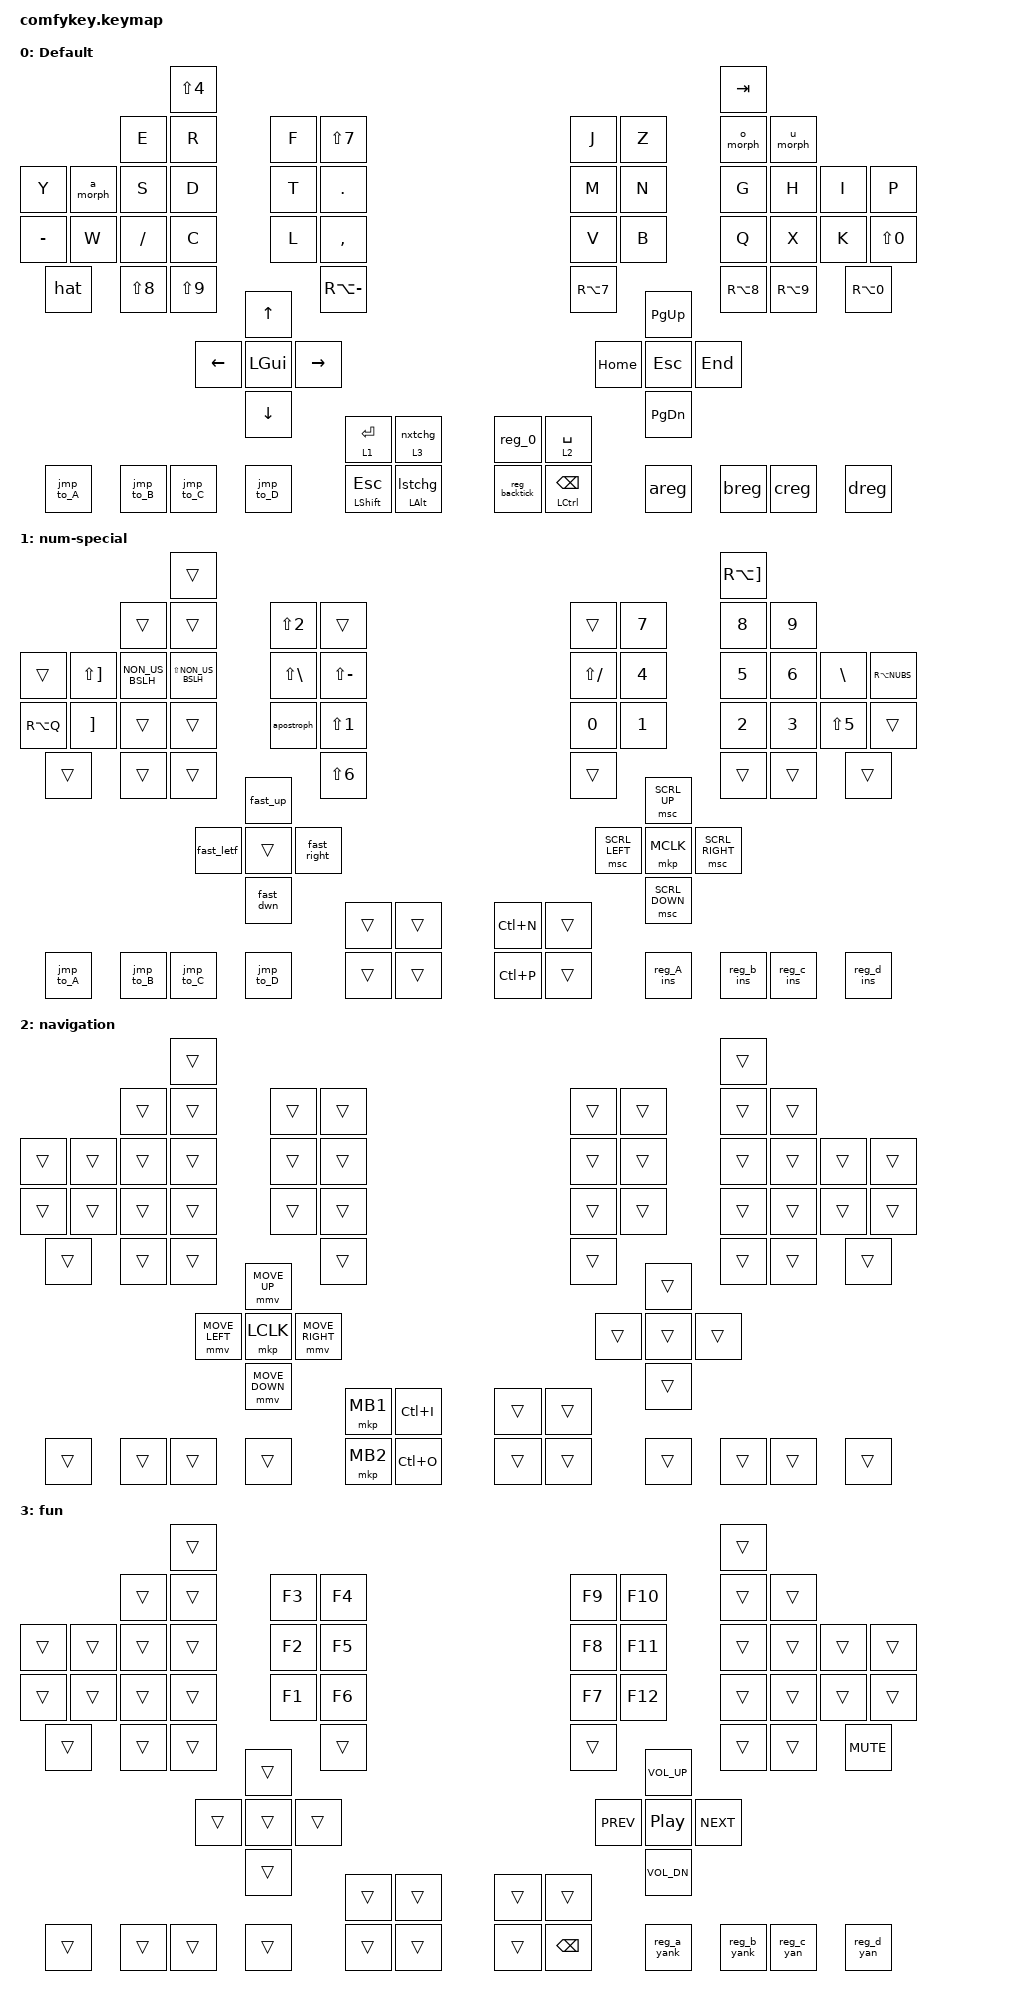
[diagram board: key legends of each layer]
#define ZMK_POINTING_DEFAULT_MOVE_VAL 2000
#define ZMK_POINTING_DEFAULT_SCRL_VAL 50

#include <behaviors.dtsi>
#include <dt-bindings/zmk/keys.h>
#include <dt-bindings/zmk/pointing.h>


&msc {
    acceleration-exponent = <0>;
    delay-ms = <1>;
};

&mmv {
    time-to-max-speed-ms = <1000>;
    acceleration-exponent = <1>;
};

/ {
    behaviors {
        a_morph: a_morph {
            compatible = "zmk,behavior-mod-morph";
            #binding-cells = <0>;
            bindings = <&kp A>, <&kp APOSTROPHE>;

            // ä on German layout

            mods = <(MOD_RALT|MOD_LALT)>;
        };

        o_morph: o_morph {
            compatible = "zmk,behavior-mod-morph";
            #binding-cells = <0>;
            bindings = <&kp O>, <&kp SEMICOLON>;

            // ö on German layout

            mods = <(MOD_RALT|MOD_LALT)>;
        };

        u_morph: u_morph {
            compatible = "zmk,behavior-mod-morph";
            #binding-cells = <0>;
            bindings = <&kp U>, <&kp LEFT_BRACKET>;

            // ü on German layout

            mods = <(MOD_RALT|MOD_LALT)>;
        };

        lh: lh {
            compatible = "zmk,behavior-hold-tap";
            label = "LH";
            bindings = <&mo>, <&kp>;

            #binding-cells = <2>;
            tapping-term-ms = <200>;
        };

        kh: kh {
            compatible = "zmk,behavior-hold-tap";
            label = "KH";
            bindings = <&kp>, <&kp>;

            #binding-cells = <2>;
            flavor = "balanced";
            tapping-term-ms = <200>;
        };

        mkh: mkh {
            compatible = "zmk,behavior-hold-tap";
            label = "MKH";
            bindings = <&kp>, <&mkp>;

            #binding-cells = <2>;
            tapping-term-ms = <200>;
        };

        mklh: mklh {
            compatible = "zmk,behavior-hold-tap";
            label = "MKLH";
            bindings = <&mo>, <&mkp>;

            #binding-cells = <2>;
            tapping-term-ms = <200>;
        };

        new_behavior: new_behavior {
            compatible = "zmk,behavior-hold-tap";
            label = "NEW_BEHAVIOR";
            bindings = <&kp>, <&reg_backtick>;

            #binding-cells = <2>;
            tapping-term-ms = <200>;
        };

        lstchg_holdkey: lstchg_holdkey {
            compatible = "zmk,behavior-hold-tap";
            label = "LSTCHG_HOLDKEY";
            bindings = <&kp>, <&lstchg>;

            #binding-cells = <2>;
            tapping-term-ms = <200>;
        };

        nxtchg_hold: nxtchg_hold {
            compatible = "zmk,behavior-hold-tap";
            label = "NXTCHG_HOLD";
            bindings = <&mo>, <&nxtchg>;

            #binding-cells = <2>;
            tapping-term-ms = <200>;
        };

        lh_prior_idle: lh_prior_idle {
            compatible = "zmk,behavior-hold-tap";
            label = "LH_PRIOR_IDLE";
            bindings = <&mo>, <&kp>;

            #binding-cells = <2>;
            tapping-term-ms = <200>;
            require-prior-idle-ms = <200>;
        };
    };

    macros {
        apostroph: apostroph {
            compatible = "zmk,behavior-macro";
            #binding-cells = <0>;
            wait-ms = <1>;
            tap-ms = <1>;
            bindings = <&kp LS(EQUAL) &kp LS(EQUAL)>;
            label = "APOSTROPH";
        };

        hat: hat {
            compatible = "zmk,behavior-macro";
            #binding-cells = <0>;
            wait-ms = <1>;
            tap-ms = <1>;
            bindings = <&kp GRAVE &kp GRAVE>;
            label = "HAT";
        };

        areg: a_reg {
            compatible = "zmk,behavior-macro";
            #binding-cells = <0>;
            wait-ms = <1>;
            tap-ms = <1>;
            bindings = <&kp ESCAPE &kp A &kp LC(R) &kp A>;
            label = "A_REG";
        };

        breg: b_reg {
            compatible = "zmk,behavior-macro";
            #binding-cells = <0>;
            wait-ms = <1>;
            tap-ms = <1>;
            bindings = <&kp ESCAPE &kp A &kp LC(R) &kp B>;
            label = "B_REG";
        };

        creg: c_reg {
            compatible = "zmk,behavior-macro";
            #binding-cells = <0>;
            wait-ms = <1>;
            tap-ms = <1>;
            bindings = <&kp ESCAPE &kp A &kp LC(R) &kp C>;
            label = "C_REG";
        };

        dreg: d_reg {
            compatible = "zmk,behavior-macro";
            #binding-cells = <0>;
            wait-ms = <1>;
            tap-ms = <1>;
            bindings = <&kp ESCAPE &kp A &kp LC(R) &kp D>;
            label = "D_REG";
        };

        jmp_to_A: jmp_to_A {
            compatible = "zmk,behavior-macro";
            #binding-cells = <0>;
            wait-ms = <1>;
            tap-ms = <1>;
            bindings = <&kp ESCAPE &kp LS(EQUAL) &kp LS(EQUAL) &kp LS(A)>;
            label = "JMP_TO_A";
        };

        jmp_to_B: jmp_to_B {
            compatible = "zmk,behavior-macro";
            #binding-cells = <0>;
            wait-ms = <1>;
            tap-ms = <1>;
            bindings = <&kp ESCAPE &kp LS(EQUAL) &kp LS(EQUAL) &kp LS(B)>;
            label = "JMP_TO_B";
        };

        jmp_to_C: jmp_to_C {
            compatible = "zmk,behavior-macro";
            #binding-cells = <0>;
            wait-ms = <1>;
            tap-ms = <1>;
            bindings = <&kp ESCAPE &kp LS(EQUAL) &kp LS(EQUAL) &kp LS(C)>;
            label = "JMP_TO_C";
        };

        jmp_to_D: jmp_to_D {
            compatible = "zmk,behavior-macro";
            #binding-cells = <0>;
            wait-ms = <1>;
            tap-ms = <1>;
            bindings = <&kp ESCAPE &kp LS(EQUAL) &kp LS(EQUAL) &kp LS(D)>;
            label = "JMP_TO_D";
        };

        reg_backtick: reg_backtick {
            compatible = "zmk,behavior-macro";
            #binding-cells = <0>;
            wait-ms = <1>;
            tap-ms = <1>;
            bindings = <&kp LS(EQUAL) &kp LS(EQUAL) &kp LS(EQUAL) &kp LS(EQUAL)>;
            label = "REG_BACKTICK";
        };

        lstchg: reg_colon {
            compatible = "zmk,behavior-macro";
            #binding-cells = <0>;
            wait-ms = <1>;
            tap-ms = <1>;
            bindings = <&kp G &kp LS(COMMA)>;
            label = "REG_COLON";
        };

        fast_letf: fast_letf {
            compatible = "zmk,behavior-macro";
            #binding-cells = <0>;
            wait-ms = <1>;
            tap-ms = <1>;
            bindings = <&kp N5 &kp N0 &kp LEFT_ARROW>;
            label = "FAST_LETF";
        };

        fast_right: fast_right {
            compatible = "zmk,behavior-macro";
            #binding-cells = <0>;
            wait-ms = <1>;
            tap-ms = <1>;
            bindings = <&kp N5 &kp N0 &kp RIGHT>;
            label = "FAST_RIGHT";
        };

        fast_up: fast_up {
            compatible = "zmk,behavior-macro";
            #binding-cells = <0>;
            wait-ms = <1>;
            tap-ms = <1>;
            bindings = <&kp N5 &kp N0 &kp UP_ARROW>;
            label = "FAST_UP";
        };

        fast_dwn: fast_dwn {
            compatible = "zmk,behavior-macro";
            #binding-cells = <0>;
            wait-ms = <1>;
            tap-ms = <1>;
            bindings = <&kp N5 &kp N0 &kp DOWN_ARROW>;
            label = "FAST_DWN";
        };

        reg_A_ins: reg_A_ins {
            compatible = "zmk,behavior-macro";
            #binding-cells = <0>;
            wait-ms = <1>;
            tap-ms = <1>;
            bindings = <&kp ESCAPE &kp LS(NUMBER_2) &kp A &kp P>;
            label = "REG_A_INS";
        };

        reg_b_ins: reg_b_ins {
            compatible = "zmk,behavior-macro";
            #binding-cells = <0>;
            wait-ms = <1>;
            tap-ms = <1>;
            bindings = <&kp ESCAPE &kp LS(NUMBER_2) &kp B &kp P>;
            label = "REG_B_INS";
        };

        reg_c_ins: reg_c_inster {
            compatible = "zmk,behavior-macro";
            #binding-cells = <0>;
            wait-ms = <1>;
            tap-ms = <1>;
            bindings = <&kp ESCAPE &kp LS(NUMBER_2) &kp C &kp P>;
            label = "REG_C_INSTER";
        };

        reg_d_ins: reg_d_ins {
            compatible = "zmk,behavior-macro";
            #binding-cells = <0>;
            wait-ms = <1>;
            tap-ms = <1>;
            bindings = <&kp ESCAPE &kp LS(NUMBER_2) &kp D &kp P>;
            label = "REG_D_INS";
        };

        reg_a_yank: reg_a_yank {
            compatible = "zmk,behavior-macro";
            #binding-cells = <0>;
            wait-ms = <1>;
            tap-ms = <1>;
            bindings = <&kp ESCAPE &kp LS(NUMBER_2) &kp A &kp Y>;
            label = "REG_A_YANK";
        };

        reg_b_yank: reg_b_yank {
            compatible = "zmk,behavior-macro";
            #binding-cells = <0>;
            wait-ms = <1>;
            tap-ms = <1>;
            bindings = <&kp ESCAPE &kp LS(NUMBER_2) &kp B &kp Y>;
            label = "REG_A_YANK";
        };

        reg_c_yan: reg_c_yan {
            compatible = "zmk,behavior-macro";
            #binding-cells = <0>;
            wait-ms = <1>;
            tap-ms = <1>;
            bindings = <&kp ESCAPE &kp LS(NUMBER_2) &kp C &kp Y>;
            label = "REG_C_YAN";
        };

        reg_d_yan: reg_d_yan {
            compatible = "zmk,behavior-macro";
            #binding-cells = <0>;
            wait-ms = <1>;
            tap-ms = <1>;
            bindings = <&kp ESCAPE &kp LS(NUMBER_2) &kp D &kp Y>;
            label = "REG_D_YAN";
        };

        nxtchg: nxtchg {
            compatible = "zmk,behavior-macro";
            #binding-cells = <0>;
            wait-ms = <1>;
            tap-ms = <1>;
            bindings = <&kp G &kp COMMA>;
            label = "NXTCHG";
        };

        reg_0: reg_0 {
            compatible = "zmk,behavior-macro";
            #binding-cells = <0>;
            wait-ms = <1>;
            tap-ms = <1>;
            bindings = <&kp LS(NUMBER_2) &kp N0>;
            label = "REG_0";
        };

        bh_reg: bh_reg {
            compatible = "zmk,behavior-macro";
            #binding-cells = <0>;
            wait-ms = <1>;
            tap-ms = <1>;
            bindings = <&kp LS(NUMBER_2) &kp LS(SLASH)>;
            label = "BH_REG";
        };
    };

    combos {
        compatible = "zmk,combos";

        Lgui_combo {
            bindings = <&kp RIGHT_ALT>;
            key-positions = <61 53>;
        };

        delete_behavior {
            bindings = <&kp DEL>;
            key-positions = <63 55>;
            require-prior-idle-ms = <250>;
        };

        gui {
            bindings = <&kp LEFT_GUI>;
            key-positions = <62 54>;
            require-prior-idle-ms = <500>;
        };

        bh_macro {
            bindings = <&bh_reg>;
            key-positions = <60 54>;
        };
    };

    keymap {
        compatible = "zmk,keymap";

        default {
            display-name = "Default";
            bindings = <
&kp LS(NUMBER_4)  &kp TAB  &kp E  &kp R  &kp F  &kp LS(N7)  &kp J  &kp Z  &o_morph  &u_morph  &kp Y  &a_morph  &kp S  &kp D  &kp T  &kp PERIOD  &kp M  &kp N  &kp G  &kp H  &kp I  &kp P  &kp MINUS  &kp W  &kp SLASH  &kp C  &kp L  &kp COMMA  &kp V  &kp B  &kp Q  &kp X  &kp K  &kp LS(N0)  &hat  &kp LS(NUMBER_8)  &kp LS(NUMBER_9)  &kp RA(MINUS)  &kp RA(N7)  &kp RA(N8)  &kp RA(N9)  &kp RA(N0)  &kp UP  &kp PG_UP  &kp LEFT  &kp LEFT_GUI  &kp RIGHT  &kp HOME  &kp ESCAPE  &kp END  &kp DOWN  &kp PG_DN  &lh 1 ENTER  &nxtchg_hold 3 0  &reg_0  &lh_prior_idle 2 SPACE  &jmp_to_A  &jmp_to_B  &jmp_to_C  &jmp_to_D  &mt LEFT_SHIFT ESCAPE  &lstchg_holdkey LEFT_ALT 0  &reg_backtick  &kh LCTRL BACKSPACE  &areg  &breg  &creg  &dreg
            >;
        };

        num_sepcial {
            display-name = "num-special";
            bindings = <
&trans  &kp RA(RIGHT_BRACKET)  &trans  &trans  &kp LS(NUMBER_2)  &trans  &trans  &kp N7  &kp N8  &kp N9  &trans  &kp LS(RIGHT_BRACKET)  &kp NON_US_BSLH  &kp LS(NON_US_BSLH)  &kp LS(BACKSLASH)  &kp LS(MINUS)  &kp LS(SLASH)  &kp NUMBER_4  &kp N5  &kp NUMBER_6  &kp BACKSLASH  &kp RA(NUBS)  &kp RA(Q)  &kp RIGHT_BRACKET  &trans  &trans  &apostroph  &kp LS(NUMBER_1)  &kp N0  &kp NUMBER_1  &kp NUMBER_2  &kp NUMBER_3  &kp LS(N5)  &trans  &trans  &trans  &trans  &kp LS(NUMBER_6)  &trans  &trans  &trans  &trans  &fast_up  &msc SCRL_UP  &fast_letf  &trans  &fast_right  &msc SCRL_LEFT  &mkp MCLK  &msc SCRL_RIGHT  &fast_dwn  &msc SCRL_DOWN  &trans  &trans  &kp LC(N)  &trans  &jmp_to_A  &jmp_to_B  &jmp_to_C  &jmp_to_D  &trans  &trans  &kp LC(P)  &trans  &reg_A_ins  &reg_b_ins  &reg_c_ins  &reg_d_ins
            >;
        };

        navigation {
            display-name = "navigation";
            bindings = <
&trans  &trans  &trans  &trans  &trans  &trans  &trans  &trans  &trans  &trans  &trans  &trans  &trans  &trans  &trans  &trans  &trans  &trans  &trans  &trans  &trans  &trans  &trans  &trans  &trans  &trans  &trans  &trans  &trans  &trans  &trans  &trans  &trans  &trans  &trans  &trans  &trans  &trans  &trans  &trans  &trans  &trans  &mmv MOVE_UP  &trans  &mmv MOVE_LEFT  &mkp LCLK  &mmv MOVE_RIGHT  &trans  &trans  &trans  &mmv MOVE_DOWN  &trans  &mkp MB1  &kp LC(I)  &trans  &trans  &trans  &trans  &trans  &trans  &mkp MB2  &kp LC(O)  &trans  &trans  &trans  &trans  &trans  &trans
            >;
        };

        fun {
            bindings = <
&trans  &trans  &trans  &trans  &kp F3  &kp F4  &kp F9  &kp F10  &trans  &trans  &trans  &trans  &trans  &trans  &kp F2  &kp F5  &kp F8  &kp F11  &trans  &trans  &trans  &trans  &trans  &trans  &trans  &trans  &kp F1  &kp F6  &kp F7  &kp F12  &trans  &trans  &trans  &trans  &trans  &trans  &trans  &trans  &trans  &trans  &trans  &kp C_MUTE  &trans  &kp C_VOL_UP  &trans  &trans  &trans  &kp C_PREV  &kp C_PP  &kp C_NEXT  &trans  &kp C_VOL_DN  &trans  &trans  &trans  &trans  &trans  &trans  &trans  &trans  &trans  &trans  &trans  &kp BACKSPACE  &reg_a_yank  &reg_b_yank  &reg_c_yan  &reg_d_yan
            >;
        };

        r1 { status = "reserved"; };

        r2 { status = "reserved"; };

        r3 { status = "reserved"; };

        r4 { status = "reserved"; };

        r5 { status = "reserved"; };

        r6 { status = "reserved"; };

        r7 { status = "reserved"; };
    };
};
